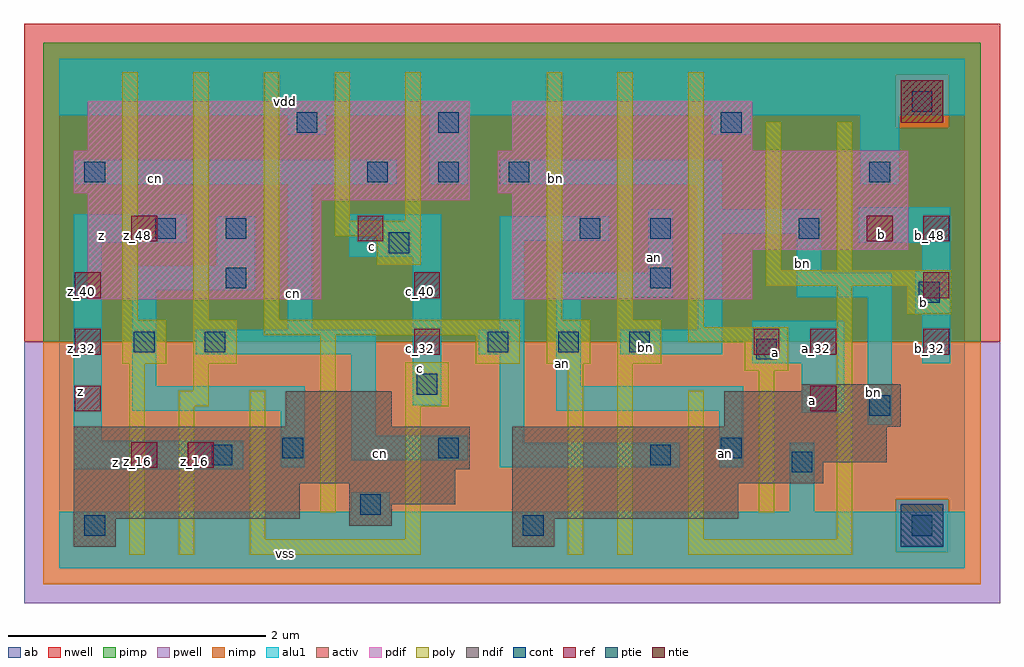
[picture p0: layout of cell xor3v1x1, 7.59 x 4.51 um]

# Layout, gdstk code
import gdstk
lib = gdstk.Library(unit=1e-6, precision=2.5e-09)
def R(c, l, rs):  # rectangles x0, y0, x1, y1
    for r in rs: c.add(gdstk.rectangle(r[:2], r[2:], *l))
def A(c, l, x, y, w, h, nx, ny, dx, dy):  # array of equal rectangles
    R(c, l, [(x+i*dx, y+j*dy, x+i*dx+w, y+j*dy+h) for i in range(nx) for j in range(ny)])
ndif = (3, 0)
pdif = (4, 0)
ntie = (5, 0)
ptie = (6, 0)
ref = (24, 0)
cont = (25, 0)
pwell = (41, 0)
nwell = (42, 0)
activ = (43, 0)
pimp = (44, 0)
nimp = (45, 0)
poly = (46, 0)
alu1 = (49, 0)
ab = (63, 0)

xor3v1x1 = lib.new_cell('xor3v1x1')
R(xor3v1x1, ndif, [(0.11,0.165,0.44,0.385), (3.52,0.165,3.85,0.385), (2.255,0.33,2.585,0.495), (0.11,0.385,1.87,0.66), (3.52,0.385,5.28,0.66), (2.255,0.495,3.08,0.66), (0.11,0.66,3.08,0.77), (3.52,0.66,5.94,0.825), (0.11,0.77,3.19,1.1), (3.52,0.825,6.435,1.1), (1.76,1.1,2.585,1.375), (5.17,1.1,6.545,1.375), (5.775,1.375,6.545,1.43)])
R(xor3v1x1, pdif, [(0.22,2.09,2.035,2.86), (3.52,2.09,5.39,2.475), (3.52,2.475,6.6,2.915), (0.22,2.86,3.19,2.915), (0.11,2.915,3.19,3.245), (3.41,2.915,6.6,3.245), (0.22,3.245,3.19,3.63), (3.52,3.245,5.39,3.63)])
R(xor3v1x1, ntie, [(6.545,3.465,6.875,3.795)])
R(xor3v1x1, ptie, [(6.545,0.165,6.875,0.495)])
A(xor3v1x1, ref, 0.12, 1.66, 0.2, 0.2, 3, 1, 2.64, 0)
A(xor3v1x1, ref, 6.72, 1.66, 0.2, 0.2, 1, 3, 0, 0.44)
R(xor3v1x1, ref, [(0.56,0.78,0.76,0.98), (1,0.78,1.2,0.98), (0.12,1.22,0.32,1.42), (5.84,1.22,6.04,1.42), (5.84,1.66,6.04,1.86), (0.12,2.1,0.32,2.3), (2.76,2.1,2.96,2.3), (0.56,2.54,0.76,2.74), (2.32,2.54,2.52,2.74), (6.28,2.54,6.48,2.74)])
A(xor3v1x1, cont, 3.33, 1.68, 0.16, 0.16, 3, 1, 0.55, 0)
A(xor3v1x1, cont, 2.395, 3, 0.16, 0.16, 3, 1, 0.55, 0)
R(xor3v1x1, cont, [(0.195,0.25,0.355,0.41), (3.605,0.25,3.765,0.41), (6.63,0.25,6.79,0.41), (2.34,0.415,2.5,0.575), (5.695,0.745,5.855,0.905), (1.185,0.8,1.345,0.96), (4.595,0.8,4.755,0.96), (1.735,0.855,1.895,1.015), (2.945,0.855,3.105,1.015), (5.145,0.855,5.305,1.015), (6.3,1.185,6.46,1.345), (2.78,1.35,2.94,1.51), (5.42,1.625,5.58,1.785), (0.58,1.68,0.74,1.84), (1.13,1.68,1.29,1.84), (6.685,2.065,6.845,2.225), (1.295,2.175,1.455,2.335), (4.595,2.175,4.755,2.335), (2.56,2.45,2.72,2.61), (0.745,2.56,0.905,2.72), (1.295,2.56,1.455,2.72), (4.045,2.56,4.205,2.72), (4.595,2.56,4.755,2.72), (5.75,2.56,5.91,2.72), (0.195,3,0.355,3.16), (6.3,3,6.46,3.16), (1.845,3.385,2.005,3.545), (2.945,3.385,3.105,3.545), (5.145,3.385,5.305,3.545), (6.63,3.55,6.79,3.71)])
R(xor3v1x1, pwell, [(-0.275,-0.275,7.315,1.76)])
R(xor3v1x1, nwell, [(-0.275,1.76,7.315,4.235)])
R(xor3v1x1, activ, [(0.11,0.165,0.44,0.385), (3.52,0.165,3.85,0.385), (6.545,0.165,6.875,0.495), (2.255,0.33,2.585,0.495), (0.11,0.385,1.87,0.66), (3.52,0.385,5.28,0.66), (2.255,0.495,3.08,0.66), (0.11,0.66,3.08,0.77), (3.52,0.66,5.94,0.825), (0.11,0.77,3.19,1.1), (3.52,0.825,6.435,1.1), (1.76,1.1,2.585,1.375), (5.17,1.1,6.545,1.375), (5.775,1.375,6.545,1.43), (0.22,2.09,2.035,2.86), (3.52,2.09,5.39,2.475), (3.52,2.475,6.6,2.915), (0.22,2.86,3.19,2.915), (0.11,2.915,3.19,3.245), (3.41,2.915,6.6,3.245), (0.22,3.245,3.19,3.63), (3.52,3.245,5.39,3.63), (6.545,3.465,6.875,3.795)])
R(xor3v1x1, pimp, [(6.505,0.125,6.915,0.535), (-0.125,1.76,7.165,3.425), (-0.125,3.425,6.505,3.835), (6.915,3.425,7.165,3.835), (-0.125,3.835,7.165,4.085)])
R(xor3v1x1, nimp, [(-0.125,-0.125,7.165,0.125), (-0.125,0.125,6.505,0.535), (6.915,0.125,7.165,0.535), (-0.125,0.535,7.165,1.76), (6.505,3.425,6.915,3.835)])
A(xor3v1x1, poly, 0.49, 1.93, 0.12, 1.925, 3, 1, 0.55, 0)
R(xor3v1x1, poly, [(0.545,0.105,0.665,1.59), (0.93,0.105,1.05,1.26), (1.48,0.105,2.81,0.225), (3.955,0.105,4.075,1.59), (4.34,0.105,4.46,1.59), (4.89,0.105,6.165,0.225), (1.48,0.225,1.6,1.38), (2.69,0.225,2.81,1.26), (4.89,0.225,5.01,1.38), (6.045,0.225,6.165,2.195), (2.03,0.435,2.15,1.81), (5.44,0.435,5.56,1.535), (0.93,1.26,1.16,1.38), (2.69,1.26,3.03,1.6), (1.04,1.38,1.16,1.59), (5.33,1.535,5.67,1.755), (0.49,1.59,0.83,1.93), (1.04,1.59,1.38,1.93), (3.24,1.59,3.58,1.81), (3.79,1.59,4.13,1.93), (4.34,1.59,4.68,1.93), (4.89,1.755,5.67,1.875), (1.59,1.81,3.58,1.93), (4.89,1.875,5.01,3.855), (3.79,1.93,3.91,3.855), (4.34,1.93,4.46,3.855), (6.595,1.975,6.935,2.195), (5.495,2.195,6.935,2.315), (5.495,2.315,5.615,3.47), (6.045,2.315,6.165,3.47), (2.47,2.36,2.81,2.58), (2.14,2.58,2.81,2.7), (2.14,2.7,2.26,3.855), (2.69,2.7,2.81,3.855)])
R(xor3v1x1, alu1, [(0,0,7.04,0.44), (2.27,0.44,2.57,0.59), (5.68,0.44,5.87,0.975), (0.11,0.77,1.43,0.99), (1.72,0.785,1.91,1.225), (3.425,0.785,4.825,0.975), (5.13,0.785,5.32,1.225), (2.27,0.84,3.175,1.03), (3.425,0.975,3.615,1.665), (0.11,0.99,0.33,2.53), (2.27,1.03,2.46,1.665), (6.285,1.115,6.475,2.105), (5.775,1.21,6.105,1.595), (0.565,1.225,1.91,1.415), (3.865,1.225,5.32,1.415), (2.75,1.265,2.97,2.42), (0.565,1.415,0.755,2.16), (3.865,1.415,4.055,2.105), (5.39,1.595,6.105,1.925), (6.71,1.595,6.93,1.98), (1.06,1.665,2.46,1.855), (3.26,1.665,3.615,1.855), (4.36,1.665,5.155,1.855), (1.775,1.855,1.965,2.985), (3.425,1.855,3.615,2.545), (4.965,1.855,5.155,2.6), (6.655,1.98,6.93,2.31), (3.865,2.105,4.77,2.295), (5.735,2.105,6.475,2.295), (0.565,2.16,1.525,2.35), (4.58,2.295,4.77,2.79), (5.735,2.295,5.925,2.6), (6.71,2.31,6.93,2.53), (1.225,2.35,1.525,2.735), (2.255,2.42,2.97,2.75), (0.11,2.53,0.99,2.75), (6.215,2.53,6.93,2.805), (3.425,2.545,4.275,2.735), (4.965,2.6,5.925,2.79), (4.965,2.79,5.155,2.985), (0.125,2.985,2.625,3.175), (2.875,2.985,3.175,3.52), (3.425,2.985,5.155,3.175), (6.23,2.985,6.53,3.52), (1.775,3.37,2.075,3.52), (5.075,3.37,5.375,3.52), (0,3.52,7.04,3.96)])
R(xor3v1x1, ab, [(0,0,7.04,3.96)])
xor3v1x1.add(gdstk.Label('vss', (1.76,0.11), layer=49, texttype=0))
xor3v1x1.add(gdstk.Label('b', (6.7225,2.0625), layer=49, texttype=0))
xor3v1x1.add(gdstk.Label('bn', (6.3325,1.3625), layer=49, texttype=0))
xor3v1x1.add(gdstk.Label('a', (5.8575,1.305), layer=49, texttype=0))
xor3v1x1.add(gdstk.Label('an', (5.1775,0.895), layer=49, texttype=0))
xor3v1x1.add(gdstk.Label('a', (5.5675,1.6775), layer=49, texttype=0))
xor3v1x1.add(gdstk.Label('bn', (4.5575,1.7125), layer=49, texttype=0))
xor3v1x1.add(gdstk.Label('b', (6.3925,2.5975), layer=49, texttype=0))
xor3v1x1.add(gdstk.Label('bn', (5.7825,2.37), layer=49, texttype=0))
xor3v1x1.add(gdstk.Label('an', (3.9125,1.5875), layer=49, texttype=0))
xor3v1x1.add(gdstk.Label('cn', (2.495,0.8875), layer=49, texttype=0))
xor3v1x1.add(gdstk.Label('an', (4.6275,2.4175), layer=49, texttype=0))
xor3v1x1.add(gdstk.Label('c', (2.805,1.5525), layer=49, texttype=0))
xor3v1x1.add(gdstk.Label('z', (0.44,0.825), layer=49, texttype=0))
xor3v1x1.add(gdstk.Label('c', (2.4325,2.5025), layer=49, texttype=0))
xor3v1x1.add(gdstk.Label('cn', (1.8225,2.1375), layer=49, texttype=0))
xor3v1x1.add(gdstk.Label('z', (0.165,1.375), layer=49, texttype=0))
xor3v1x1.add(gdstk.Label('z', (0.33,2.585), layer=49, texttype=0))
xor3v1x1.add(gdstk.Label('bn', (3.8575,3.0325), layer=49, texttype=0))
xor3v1x1.add(gdstk.Label('cn', (0.75,3.0325), layer=49, texttype=0))
xor3v1x1.add(gdstk.Label('vdd', (1.76,3.63), layer=49, texttype=0))
xor3v1x1.add(gdstk.Label('b_32', (6.77,1.71), layer=24, texttype=0))
xor3v1x1.add(gdstk.Label('b_40', (6.77,2.15), layer=24, texttype=0))
xor3v1x1.add(gdstk.Label('b_48', (6.33,2.59), layer=24, texttype=0))
xor3v1x1.add(gdstk.Label('b_48', (6.77,2.59), layer=24, texttype=0))
xor3v1x1.add(gdstk.Label('c_40', (2.81,2.15), layer=24, texttype=0))
xor3v1x1.add(gdstk.Label('c_32', (2.81,1.71), layer=24, texttype=0))
xor3v1x1.add(gdstk.Label('c_48', (2.37,2.59), layer=24, texttype=0))
xor3v1x1.add(gdstk.Label('z_40', (0.17,2.15), layer=24, texttype=0))
xor3v1x1.add(gdstk.Label('z_32', (0.17,1.71), layer=24, texttype=0))
xor3v1x1.add(gdstk.Label('z_24', (0.17,1.27), layer=24, texttype=0))
xor3v1x1.add(gdstk.Label('z_16', (1.05,0.83), layer=24, texttype=0))
xor3v1x1.add(gdstk.Label('z_48', (0.61,2.59), layer=24, texttype=0))
xor3v1x1.add(gdstk.Label('z_16', (0.61,0.83), layer=24, texttype=0))
xor3v1x1.add(gdstk.Label('a_32', (5.89,1.71), layer=24, texttype=0))
xor3v1x1.add(gdstk.Label('a_24', (5.89,1.27), layer=24, texttype=0))
xor3v1x1.add(gdstk.Label('a_32', (5.45,1.71), layer=24, texttype=0))

lib.write_gds('xor3v1x1.gds')
